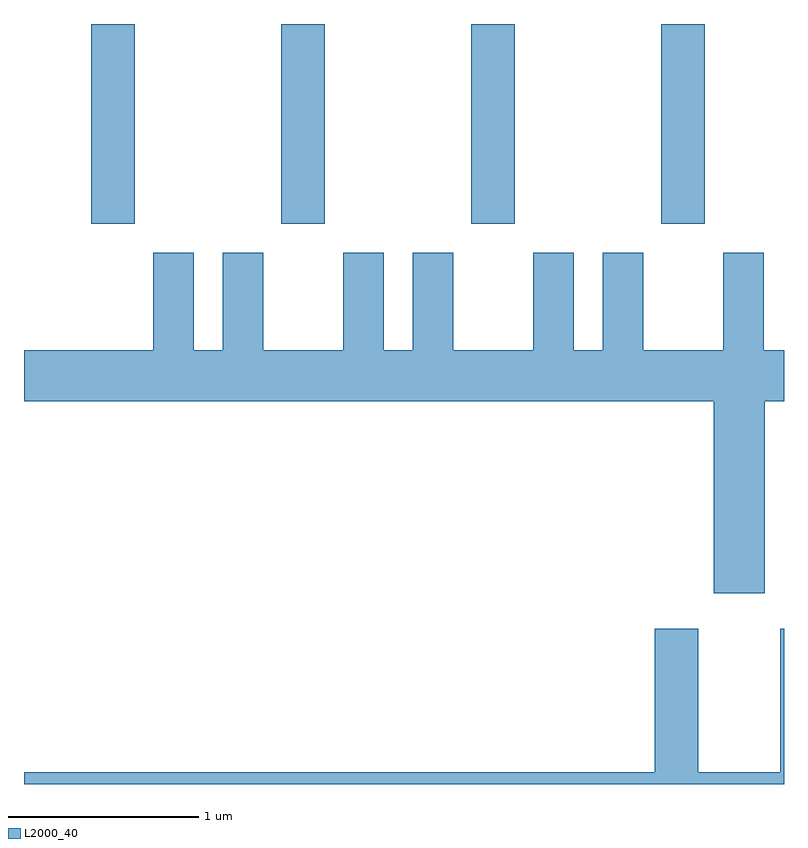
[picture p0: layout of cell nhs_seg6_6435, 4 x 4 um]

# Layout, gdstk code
import gdstk
lib = gdstk.Library(unit=1e-6, precision=1e-09)
def R(c, l, rs):  # rectangles x0, y0, x1, y1
    for r in rs: c.add(gdstk.rectangle(r[:2], r[2:], *l))
def A(c, l, x, y, w, h, nx, ny, dx, dy):  # array of equal rectangles
    R(c, l, [(x+i*dx, y+j*dy, x+i*dx+w, y+j*dy+h) for i in range(nx) for j in range(ny)])
def P(c, l, *ps):  # polygons
    for p in ps: c.add(gdstk.Polygon(p, *l))
L2000_40 = (2000, 40)

nhs_seg6_6435 = lib.new_cell('nhs_seg6_6435')
A(nhs_seg6_6435, L2000_40, 379.966, 1633.111, 0.228, 1.051, 4, 1, 1, 0)
P(nhs_seg6_6435, L2000_40, [(380.656,1632.959),(380.656,1632.444),(380.504,1632.444),(380.504,1632.959),(380.291,1632.959),(380.291,1632.444),(379.611,1632.444),(379.611,1632.176),(383.241,1632.176),(383.241,1631.166),(383.509,1631.166),(383.509,1632.176),(383.611,1632.176),(383.611,1632.444),(383.504,1632.444),(383.504,1632.959),(383.291,1632.959),(383.291,1632.444),(382.869,1632.444),(382.869,1632.959),(382.656,1632.959),(382.656,1632.444),(382.504,1632.444),(382.504,1632.959),(382.291,1632.959),(382.291,1632.444),(381.869,1632.444),(381.869,1632.959),(381.656,1632.959),(381.656,1632.444),(381.504,1632.444),(381.504,1632.959),(381.291,1632.959),(381.291,1632.444),(380.869,1632.444),(380.869,1632.959)],
  [(383.611,1630.979),(383.591,1630.979),(383.591,1630.224),(383.159,1630.224),(383.159,1630.979),(382.931,1630.979),(382.931,1630.224),(379.611,1630.224),(379.611,1630.162),(383.611,1630.162)])

lib.write_gds('nhs_seg6_6435.gds')
